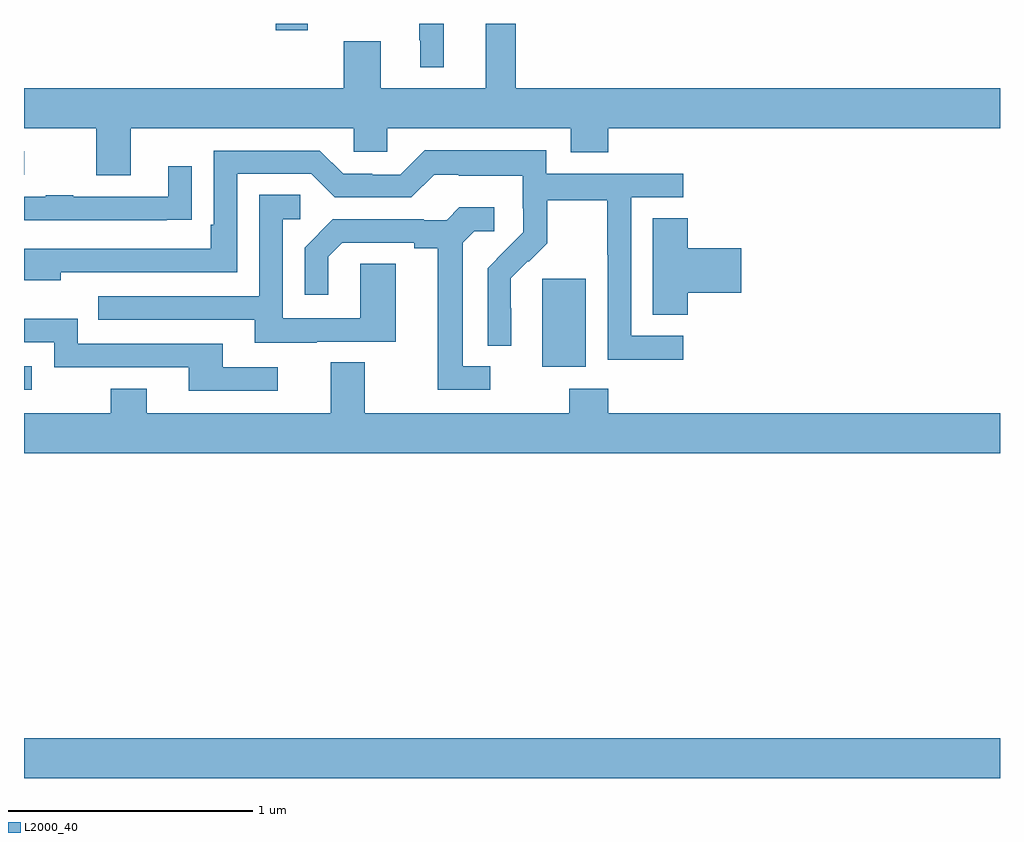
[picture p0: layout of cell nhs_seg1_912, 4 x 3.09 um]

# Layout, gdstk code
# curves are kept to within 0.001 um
import gdstk
lib = gdstk.Library(unit=1e-6, precision=1e-09)
def R(c, l, rs):  # rectangles x0, y0, x1, y1
    for r in rs: c.add(gdstk.rectangle(r[:2], r[2:], *l))
def P(c, l, *ps):  # polygons
    for p in ps: c.add(gdstk.Polygon(p, *l))
L2000_40 = (2000, 40)

nhs_seg1_912 = lib.new_cell('nhs_seg1_912')
R(nhs_seg1_912, L2000_40, [(161,509.108,165,509.272), (161,510.699,161.032,510.795), (163.124,510.794,163.303,511.155), (161,511.581,161.002,511.677), (162.032,512.172,162.163,512.199)])
P(nhs_seg1_912, L2000_40, [(162.721,512.199),(162.619,512.199),(162.619,512.131),(162.623,512.131),(162.623,512.021),(162.721,512.021)],
  [(161.437,511.772),(162.351,511.772),(162.351,511.674),(162.489,511.674),(162.489,511.772),(163.241,511.772),(163.241,511.673),(163.394,511.673),(163.394,511.772),(165,511.772),(165,511.936),(163.016,511.936),(163.016,512.199),(162.893,512.199),(162.893,511.936),(162.463,511.936),(162.463,512.128),(162.311,512.128),(162.311,511.936),(161,511.936),(161,511.772),(161.297,511.772),(161.297,511.578),(161.437,511.578)],
  [(163.702,510.921),(163.488,510.921),(163.488,511.488),(163.702,511.488),(163.702,511.584),(163.14,511.584),(163.14,511.681),(162.643,511.681),(162.543,511.581),(162.428,511.581),(162.428,511.584),(162.309,511.584),(162.213,511.68),(161.778,511.68),(161.778,511.375),(161.765,511.375),(161.765,511.278),(161,511.278),(161,511.148),(161.15,511.148),(161.15,511.182),(161.874,511.182),(161.874,511.584),(162.177,511.584),(162.273,511.488),(162.588,511.488),(162.681,511.581),(162.781,511.581),(162.781,511.577),(163.044,511.577),(163.044,511.443),(163.046,511.443),(163.046,511.346),(162.9,511.198),(162.9,510.88),(162.996,510.88),(162.995,511.157),(163.065,511.227),(163.068,511.224),(163.145,511.301),(163.145,511.476),(163.39,511.476),(163.39,511.252),(163.392,511.252),(163.392,510.823),(163.702,510.823)],
  [(161.585,511.396),(161.687,511.396),(161.687,511.615),(161.591,511.615),(161.591,511.491),(161.201,511.491),(161.201,511.496),(161.089,511.496),(161.089,511.491),(161,511.491),(161,511.395),(161.585,511.395)],
  [(162.199,510.897),(162.523,510.897),(162.523,511.217),(162.378,511.217),(162.378,510.993),(162.06,510.993),(162.06,511.398),(162.133,511.398),(162.133,511.499),(161.964,511.499),(161.964,511.083),(161.305,511.083),(161.305,510.987),(161.945,510.987),(161.945,510.893),(162.199,510.893)],
  [(162.91,510.795),(162.799,510.795),(162.799,511.303),(162.846,511.35),(162.928,511.35),(162.928,511.447),(162.784,511.447),(162.732,511.395),(162.638,511.395),(162.638,511.398),(162.266,511.398),(162.15,511.282),(162.15,511.089),(162.247,511.089),(162.247,511.245),(162.304,511.302),(162.599,511.302),(162.599,511.28),(162.695,511.28),(162.695,510.699),(162.91,510.699)],
  [(163.721,511.097),(163.939,511.097),(163.939,511.28),(163.721,511.28),(163.721,511.403),(163.577,511.403),(163.577,511.006),(163.721,511.006)],
  [(162.04,510.792),(161.815,510.792),(161.815,510.888),(161.22,510.888),(161.22,510.991),(161,510.991),(161,510.894),(161.124,510.894),(161.124,510.792),(161.675,510.792),(161.675,510.696),(162.04,510.696)],
  [(165,510.604),(163.394,510.604),(163.394,510.703),(163.234,510.703),(163.234,510.604),(162.397,510.604),(162.397,510.812),(162.257,510.812),(162.257,510.604),(161.503,510.604),(161.503,510.703),(161.356,510.703),(161.356,510.604),(161,510.604),(161,510.44),(165,510.44)])

lib.write_gds('nhs_seg1_912.gds')
